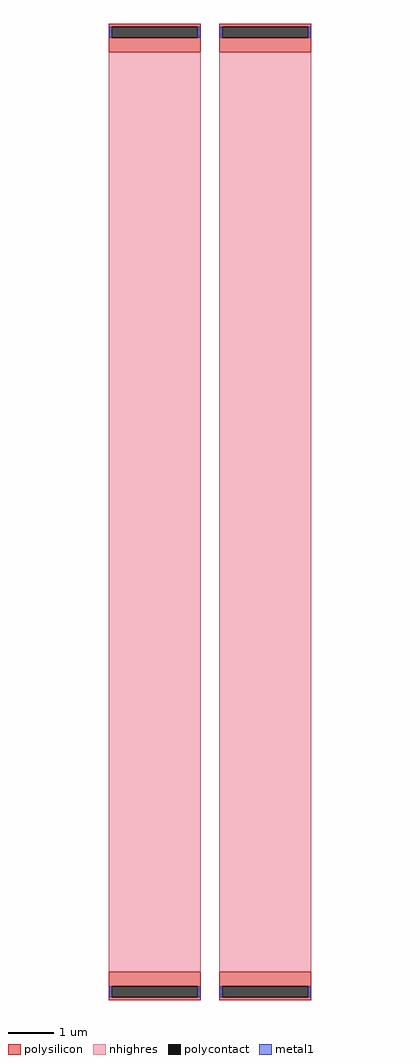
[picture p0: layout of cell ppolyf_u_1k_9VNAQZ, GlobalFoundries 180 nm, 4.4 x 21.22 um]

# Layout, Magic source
magic
tech gf180mcuD
magscale 1 10
<< polysilicon >>
rect -440 2109 -40 2122
rect -440 2063 -427 2109
rect -53 2063 -40 2109
rect -440 2000 -40 2063
rect -440 -2063 -40 -2000
rect -440 -2109 -427 -2063
rect -53 -2109 -40 -2063
rect -440 -2122 -40 -2109
rect 40 2109 440 2122
rect 40 2063 53 2109
rect 427 2063 440 2109
rect 40 2000 440 2063
rect 40 -2063 440 -2000
rect 40 -2109 53 -2063
rect 427 -2109 440 -2063
rect 40 -2122 440 -2109
<< polycontact >>
rect -427 2063 -53 2109
rect -427 -2109 -53 -2063
rect 53 2063 427 2109
rect 53 -2109 427 -2063
<< nhighres >>
rect -440 -2000 -40 2000
rect 40 -2000 440 2000
<< metal1 >>
rect -438 2063 -427 2109
rect -53 2063 -42 2109
rect 42 2063 53 2109
rect 427 2063 438 2109
rect -438 -2109 -427 -2063
rect -53 -2109 -42 -2063
rect 42 -2109 53 -2063
rect 427 -2109 438 -2063
<< properties >>
string FIXED_BBOX -616 -2298 616 2298
string gencell ppolyf_u_1k
string library gf180mcu
string parameters w 2 l 20 m 1 nx 2 wmin 1.000 lmin 1.000 class resistor rho 1000 val 10.0k dummy 0 dw 0.0 term 0.0 sterm 0.0 caplen 0.4 snake 0 glc 0 grc 0 gtc 0 gbc 0 roverlap 0 endcov 100 full_metal 0 compatible {ppolyf_u_1k ppolyf_u_1k_6p0}
<< end >>
